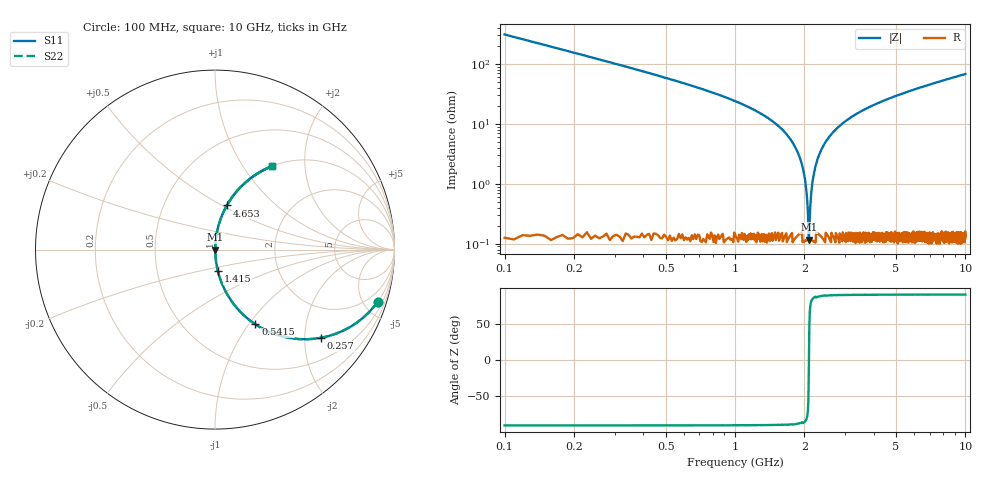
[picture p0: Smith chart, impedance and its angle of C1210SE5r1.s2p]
! AVX Thin Film Operation		Date: April 2012
! Description: Accu-P® Series, Thin Film, SMD, RF Capacitor
! Part Number: 12101J5R1ABTTR
!	50	MHz	-	20.05	GHz
!	Serial	Measurements
#	MHZ	S	MA	R	50
!	S11	S21	S12	S22
!	dB	Phase	dB	Phase	dB	Phase	dB	Phase
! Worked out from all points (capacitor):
!   1010 points, 100 MHz to 10 GHz, reference 50 ohm
!   read as one part in series: C = 5.1 pF near 149.1 MHz
!   lowest |Z| = 118 mohm at 2.092 GHz (marker M1)
!   series resonance near 2.094 GHz, so ESL is about 1.1 nH
!   S11 on the Smith chart (normalised r, x): 100 MHz: 1.00, -6.23; 257 MHz: 1.00, -2.39; 541.5 MHz: 1.00, -1.08; 1.415 GHz: 1.00, -0.24; 4.653 GHz: 1.00, +0.53; 10 GHz: 1.00, +1.36
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100  0.952 -17.8  0.306 72.2  0.306 72.2  0.952 -17.8
256.987  0.767 -39.9  0.641 50.1  0.641 50.1  0.767 -39.9
541.526  0.473 -61.6  0.88 28.2  0.88 28.2  0.473 -61.6
875.124  0.282 -73.4  0.958 16.4  0.958 16.4  0.282 -73.4
1414.767  0.119 -82.6  0.992 6.8  0.992 6.8  0.119 -82.6
1758.176  0.052 -85.6  0.997 3.0  0.997 3.0  0.052 -85.6
1964.222  0.019 -85.0  0.999 1.1  0.999 1.1  0.019 -85.0
2013.28  0.012 -83.0  0.999 0.7  0.999 0.7  0.012 -83.0
2062.339  0.00466 -73.6  0.999 0.3  0.999 0.3  0.00466 -73.6
2091.774  0.00132 -11.0  0.999 0.0  0.999 0.0  0.00132 -11.0
2131.021  0.00544 75.9  0.999 -0.3  0.999 -0.3  0.00544 75.9
2170.268  0.011 82.5  0.999 -0.6  0.999 -0.6  0.011 82.5
2219.326  0.017 84.7  0.999 -1.0  0.999 -1.0  0.017 84.7
2297.82  0.028 85.7  0.998 -1.6  0.998 -1.6  0.028 85.7
2415.56  0.043 85.8  0.998 -2.4  0.998 -2.4  0.043 85.8
2768.781  0.084 84.3  0.995 -4.8  0.995 -4.8  0.084 84.3
3406.541  0.149 80.9  0.988 -8.6  0.988 -8.6  0.149 80.9
4652.626  0.255 74.9  0.966 -14.8  0.966 -14.8  0.255 74.9
5054.906  0.285 73.2  0.957 -16.6  0.957 -16.6  0.285 73.2
6703.271  0.395 66.6  0.917 -23.3  0.917 -23.3  0.395 66.6
8351.635  0.486 60.8  0.873 -29.1  0.873 -29.1  0.486 60.8
10000  0.562 55.7  0.826 -34.2  0.826 -34.2  0.562 55.7
